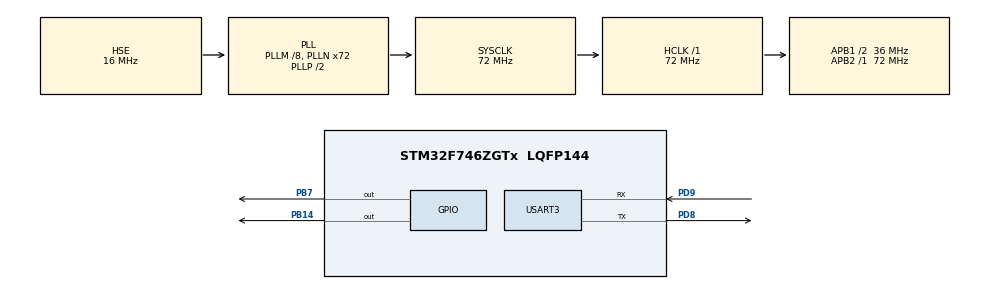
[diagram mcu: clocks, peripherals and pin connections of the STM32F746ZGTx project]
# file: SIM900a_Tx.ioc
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ADC1.Channel-0\#ChannelRegularConversion=ADC_CHANNEL_TEMPSENSOR
ADC1.ClockPrescaler=ADC_CLOCK_SYNC_PCLK_DIV4
ADC1.ContinuousConvMode=ENABLE
ADC1.NbrOfConversionFlag=1
ADC1.Rank-0\#ChannelRegularConversion=1
ADC1.SamplingTime-0\#ChannelRegularConversion=ADC_SAMPLETIME_84CYCLES
ADC1.master=1
Mcu.Family=STM32F7
Mcu.Name=STM32F746ZGTx
Mcu.Package=LQFP144
NVIC.PriorityGroup=NVIC_PRIORITYGROUP_4
NVIC.TIM2_IRQn=true\:0\:0\:false\:false\:true\:true\:true\:true
NVIC.USART3_IRQn=true\:0\:0\:false\:false\:true\:true\:true\:true
PA13.Mode=Serial_Wire
PA13.Signal=SYS_JTMS-SWDIO
PA14.Mode=Serial_Wire
PA14.Signal=SYS_JTCK-SWCLK
PB14.Signal=GPIO_Output
PB7.Signal=GPIO_Output
PD8.Mode=Asynchronous
PD8.Signal=USART3_TX
PD9.Mode=Asynchronous
PD9.Signal=USART3_RX
PH0/OSC_IN.Mode=HSE-External-Oscillator
PH0/OSC_IN.Signal=RCC_OSC_IN
PH1/OSC_OUT.Mode=HSE-External-Oscillator
PH1/OSC_OUT.Signal=RCC_OSC_OUT
ProjectManager.HeapSize=0x200
ProjectManager.StackSize=0x400
ProjectManager.TargetToolchain=STM32CubeIDE
RCC.48MHZClocksFreq_Value=24000000
RCC.AHBFreq_Value=72000000
RCC.APB1CLKDivider=RCC_HCLK_DIV2
RCC.APB1Freq_Value=36000000
RCC.APB1TimFreq_Value=72000000
RCC.APB2Freq_Value=72000000
RCC.APB2TimFreq_Value=72000000
RCC.CortexFreq_Value=72000000
RCC.HCLKFreq_Value=72000000
RCC.HSE_VALUE=16000000
RCC.HSI_VALUE=16000000
RCC.LSE_VALUE=32768
RCC.PLLM=8
RCC.PLLMUL=RCC_PLL_MUL9
RCC.PLLN=72
RCC.PLLSourceVirtual=RCC_PLLSOURCE_HSE
RCC.PRESCALERUSB=RCC_USBCLKSOURCE_PLL_DIV1_5
RCC.SYSCLKFreq_VALUE=72000000
RCC.SYSCLKSource=RCC_SYSCLKSOURCE_PLLCLK
RCC.SYSCLKSourceVirtual=RCC_SYSCLKSOURCE_PLLCLK
RCC.USBFreq_Value=72000000
RCC.VCOOutputFreq_Value=144000000
TIM2.Period=64000-1
TIM2.Prescaler=24
USART3.VirtualMode-Asynchronous=VM_ASYNC
VP_ADC1_TempSens_Input.Mode=IN-TempSens
VP_TIM2_VS_ClockSourceINT.Mode=Internal
board=NUCLEO-F746ZG

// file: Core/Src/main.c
/* USER CODE BEGIN Header */
/**
  ******************************************************************************
  * @file           : main.c
  * @brief          : Main program body
  ******************************************************************************
  * @attention
  *
  * Copyright (c) 2022 STMicroelectronics.
  * All rights reserved.
  *
  * This software is licensed under terms that can be found in the LICENSE file
  * in the root directory of this software component.
  * If no LICENSE file comes with this software, it is provided AS-IS.
  *
  ******************************************************************************
  */
/* USER CODE END Header */
#include "main.h"
#include <string.h>
#include <stdio.h>

/* USER CODE BEGIN PM */
#define CTRL_Z 26
/* USER CODE END PM */

ADC_HandleTypeDef hadc1;

TIM_HandleTypeDef htim2;

UART_HandleTypeDef huart3;

/* USER CODE BEGIN PV */
uint8_t response,connection,TCP_buffer,
         SIM_APN[15],compare_data[60];
uint8_t store[80];
uint8_t state=0, new_state=1;
uint8_t send_flag=0;
uint8_t i=0;
uint16_t readvalue;
float T_celsius;
float temp;
float Vsense;
//char APN[15]="airtelgprs.com";

char buffer[15];
/* USER CODE END PV */

void SystemClock_Config(void);
static void MX_GPIO_Init(void);
static void MX_USART3_UART_Init(void);
static void MX_TIM2_Init(void);
static void MX_ADC1_Init(void);

int main(void)
{

  /* MCU Configuration--------------------------------------------------------*/

  /* Reset of all peripherals, Initializes the Flash interface and the Systick. */
  HAL_Init();

  /* Configure the system clock */
  SystemClock_Config();

  /* Initialize all configured peripherals */
  MX_GPIO_Init();
  MX_USART3_UART_Init();
  MX_TIM2_Init();
  MX_ADC1_Init();
  /* USER CODE BEGIN 2 */

	HAL_UART_Receive_IT(&huart3, &response, 1);
	  HAL_ADC_Start(&hadc1);
  /* USER CODE END 2 */

  /* Infinite loop */
  while (1)
  {

    /* USER CODE BEGIN 3 */

	  HAL_ADC_PollForConversion(&hadc1, 100);
	  readvalue= HAL_ADC_GetValue(&hadc1);
	  Vsense= (float)readvalue *3.3/(4095);
	  T_celsius= (((Vsense-.76)/0.0025)+25);

	  switch(new_state)
	  {
	   case 1:
	   HAL_UART_Transmit(&huart3, (uint8_t*)"AT\r\n", 4, 1000);
	   HAL_Delay(1000);
	   break;
	   case 2:
	   HAL_UART_Transmit(&huart3, (uint8_t*)"AT+CPIN?\r\n", 10, 1000);
	   HAL_Delay(1000);
	   break;
	   case 3:
	   HAL_UART_Transmit(&huart3, (uint8_t*)"AT+CREG?\r\n", 10, 1000);
	   HAL_Delay(1000);
	   break;
	   case 4:
	   HAL_UART_Transmit(&huart3, (uint8_t*)"AT+CIPMUX=0\r\n", 13, 1000);
	   HAL_Delay(1000);
	   break;
	   case 5:
	   HAL_UART_Transmit(&huart3, (uint8_t*)"AT+CGATT=1\r\n", 12, 1000);
	   HAL_Delay(2000);
	   break;
	   case 6:
	   HAL_UART_Transmit(&huart3, (uint8_t*)"AT+CSTT=\"airtelgprs.com\","",""\r\n",32, 1000);
	   HAL_Delay(1000);
	   break;
	   case 7:
	   HAL_UART_Transmit(&huart3, (uint8_t*)"AT+CIICR\r\n", 10, 1000);
	   HAL_Delay(1000);
	   break;
	   case 8:
	   HAL_UART_Transmit(&huart3, (uint8_t*)"AT+CIFSR\r\n", 10, 1000);
	   HAL_Delay(1000);
	   break;
	   case 9:
//	   sprintf (connection,"AT+CIPSTART=\"TCP\",\"143.244.133.98\",\"8000\"\r\n",TCP_buffer);
	   HAL_UART_Transmit(&huart3, (uint8_t*)"AT+CIPSTART=\"TCP\",\"143.244.133.98\",\"8000\"\r\n",43, 1000);
	   HAL_Delay(1000);
	   break;
	   case 10:
	   HAL_UART_Transmit(&huart3, (uint8_t*)"AT+CIPSEND\r\n", 12, 1000);
	   HAL_Delay(1000);
	   break;
	   case 11:
	   sprintf(buffer,"%f%c\r\n",T_celsius,CTRL_Z);
	   HAL_UART_Transmit(&huart3, (uint8_t*)buffer, strlen(buffer),1000);
	   HAL_Delay(1000);
	   break;
	   case 12:
	   HAL_UART_Transmit(&huart3, (uint8_t*)"AT+CIPCLOSE\r\n", 13,1000);
	   HAL_Delay(1000);
	   break;
//	   case 13:
//	   HAL_UART_Transmit(&huart3, (uint8_t*)"AT+CIPSHUT\r\n", 12,1000);
//	   HAL_Delay(1000);
//	   break;

	  }
//	  memset(store, '\0' , 50);

  if(send_flag)
  {
	 if(strstr((char*)store,"OK")&& (new_state=1))
	  {
 		        new_state=2;
	  }
	 if(strstr((char*)store,"READY")&& (new_state=2))
	  {
	 	        new_state=3;
	  }
	 if(strstr((char*)store,"+CREG: 0,5")&& (new_state=3))
	  {
	 	 	    new_state=4;
	  }
	 if(strstr((char*)store,"CIPMUX=0")&& (new_state=4))
	  {
	 	 	    new_state=5;
	  }
	 if(strstr((char*)store,"CGATT=1")&& (new_state=5))
	  {
	 	 	 	new_state=6;
	  }
	 if(strstr((char*)store,"OK")&& (new_state=6))
	  {
	 	 	 	new_state=7;
	  }
	 if(strstr((char*)store,"AT+CIICR")&& (new_state=7))
	  {
	 	 	 	new_state=8;
	  }
	 if(strstr((char*)store,"AT+CIFSR")&& (new_state=8))
	  {
	 	 	 	new_state=9;
	  }
	 if(strstr((char*)store,"CONNECT")&& (new_state=9))
	  {
		 	 	 new_state=10;
	  }
	 if(strstr((char*)store,"AT+CIPSEND")&& (new_state=10))
	  {
			 	new_state=11;
	  }
	 if(strstr((char*)store,"SEND OK")&& (new_state=11))
	  {
	 			 new_state=12;
	  }
	 if(strstr((char*)store,"CLOSED OK")&& (new_state=12))
	  {
		 			 new_state=9;

	  }
//	 if(strstr((char*)store,"ERROR"))
//	 {
//		 new_state=13;
//	 }
//	 if(strstr((char*)store,"SHUT OK")&& (new_state=13))
//	 {
//		 new_state=1;
//		 memset(store, '0' ,50);
//	 }

//	 cmp((char*)store,"AT+CPIN?\r\n\r\n+CPIN: READY\r\n\r\nOK\r\n")==0
  }
  /* USER CODE END 3 */
  }
}

void SystemClock_Config(void)
{
  RCC_OscInitTypeDef RCC_OscInitStruct = {0};
  RCC_ClkInitTypeDef RCC_ClkInitStruct = {0};

  /** Configure the main internal regulator output voltage
  */
  __HAL_RCC_PWR_CLK_ENABLE();
  __HAL_PWR_VOLTAGESCALING_CONFIG(PWR_REGULATOR_VOLTAGE_SCALE3);

  /** Initializes the RCC Oscillators according to the specified parameters
  * in the RCC_OscInitTypeDef structure.
  */
  RCC_OscInitStruct.OscillatorType = RCC_OSCILLATORTYPE_HSE;
  RCC_OscInitStruct.HSEState = RCC_HSE_ON;
  RCC_OscInitStruct.PLL.PLLState = RCC_PLL_ON;
  RCC_OscInitStruct.PLL.PLLSource = RCC_PLLSOURCE_HSE;
  RCC_OscInitStruct.PLL.PLLM = 8;
  RCC_OscInitStruct.PLL.PLLN = 72;
  RCC_OscInitStruct.PLL.PLLP = RCC_PLLP_DIV2;
  RCC_OscInitStruct.PLL.PLLQ = 2;
  if (HAL_RCC_OscConfig(&RCC_OscInitStruct) != HAL_OK)
  {
    Error_Handler();
  }

  /** Initializes the CPU, AHB and APB buses clocks
  */
  RCC_ClkInitStruct.ClockType = RCC_CLOCKTYPE_HCLK|RCC_CLOCKTYPE_SYSCLK
                              |RCC_CLOCKTYPE_PCLK1|RCC_CLOCKTYPE_PCLK2;
  RCC_ClkInitStruct.SYSCLKSource = RCC_SYSCLKSOURCE_PLLCLK;
  RCC_ClkInitStruct.AHBCLKDivider = RCC_SYSCLK_DIV1;
  RCC_ClkInitStruct.APB1CLKDivider = RCC_HCLK_DIV2;
  RCC_ClkInitStruct.APB2CLKDivider = RCC_HCLK_DIV1;

  if (HAL_RCC_ClockConfig(&RCC_ClkInitStruct, FLASH_LATENCY_2) != HAL_OK)
  {
    Error_Handler();
  }
}

static void MX_ADC1_Init(void)
{

  ADC_ChannelConfTypeDef sConfig = {0};

  /** Configure the global features of the ADC (Clock, Resolution, Data Alignment and number of conversion)
  */
  hadc1.Instance = ADC1;
  hadc1.Init.ClockPrescaler = ADC_CLOCK_SYNC_PCLK_DIV4;
  hadc1.Init.Resolution = ADC_RESOLUTION_12B;
  hadc1.Init.ScanConvMode = ADC_SCAN_DISABLE;
  hadc1.Init.ContinuousConvMode = ENABLE;
  hadc1.Init.DiscontinuousConvMode = DISABLE;
  hadc1.Init.ExternalTrigConvEdge = ADC_EXTERNALTRIGCONVEDGE_NONE;
  hadc1.Init.ExternalTrigConv = ADC_SOFTWARE_START;
  hadc1.Init.DataAlign = ADC_DATAALIGN_RIGHT;
  hadc1.Init.NbrOfConversion = 1;
  hadc1.Init.DMAContinuousRequests = DISABLE;
  hadc1.Init.EOCSelection = ADC_EOC_SINGLE_CONV;
  if (HAL_ADC_Init(&hadc1) != HAL_OK)
  {
    Error_Handler();
  }

  /** Configure for the selected ADC regular channel its corresponding rank in the sequencer and its sample time.
  */
  sConfig.Channel = ADC_CHANNEL_TEMPSENSOR;
  sConfig.Rank = ADC_REGULAR_RANK_1;
  sConfig.SamplingTime = ADC_SAMPLETIME_84CYCLES;
  if (HAL_ADC_ConfigChannel(&hadc1, &sConfig) != HAL_OK)
  {
    Error_Handler();
  }

}

static void MX_TIM2_Init(void)
{

  TIM_ClockConfigTypeDef sClockSourceConfig = {0};
  TIM_MasterConfigTypeDef sMasterConfig = {0};

  htim2.Instance = TIM2;
  htim2.Init.Prescaler = 24;
  htim2.Init.CounterMode = TIM_COUNTERMODE_UP;
  htim2.Init.Period = 64000-1;
  htim2.Init.ClockDivision = TIM_CLOCKDIVISION_DIV1;
  htim2.Init.AutoReloadPreload = TIM_AUTORELOAD_PRELOAD_DISABLE;
  if (HAL_TIM_Base_Init(&htim2) != HAL_OK)
  {
    Error_Handler();
  }
  sClockSourceConfig.ClockSource = TIM_CLOCKSOURCE_INTERNAL;
  if (HAL_TIM_ConfigClockSource(&htim2, &sClockSourceConfig) != HAL_OK)
  {
    Error_Handler();
  }
  sMasterConfig.MasterOutputTrigger = TIM_TRGO_RESET;
  sMasterConfig.MasterSlaveMode = TIM_MASTERSLAVEMODE_DISABLE;
  if (HAL_TIMEx_MasterConfigSynchronization(&htim2, &sMasterConfig) != HAL_OK)
  {
    Error_Handler();
  }

}

static void MX_USART3_UART_Init(void)
{

  huart3.Instance = USART3;
  huart3.Init.BaudRate = 115200;
  huart3.Init.WordLength = UART_WORDLENGTH_8B;
  huart3.Init.StopBits = UART_STOPBITS_1;
  huart3.Init.Parity = UART_PARITY_NONE;
  huart3.Init.Mode = UART_MODE_TX_RX;
  huart3.Init.HwFlowCtl = UART_HWCONTROL_NONE;
  huart3.Init.OverSampling = UART_OVERSAMPLING_16;
  huart3.Init.OneBitSampling = UART_ONE_BIT_SAMPLE_DISABLE;
  huart3.AdvancedInit.AdvFeatureInit = UART_ADVFEATURE_NO_INIT;
  if (HAL_UART_Init(&huart3) != HAL_OK)
  {
    Error_Handler();
  }

}

static void MX_GPIO_Init(void)
{
  GPIO_InitTypeDef GPIO_InitStruct = {0};

  /* GPIO Ports Clock Enable */
  __HAL_RCC_GPIOH_CLK_ENABLE();
  __HAL_RCC_GPIOB_CLK_ENABLE();
  __HAL_RCC_GPIOD_CLK_ENABLE();
  __HAL_RCC_GPIOA_CLK_ENABLE();

  /*Configure GPIO pin Output Level */
  HAL_GPIO_WritePin(GPIOB, GPIO_PIN_14|GPIO_PIN_7, GPIO_PIN_RESET);

  /*Configure GPIO pins : PB14 PB7 */
  GPIO_InitStruct.Pin = GPIO_PIN_14|GPIO_PIN_7;
  GPIO_InitStruct.Mode = GPIO_MODE_OUTPUT_PP;
  GPIO_InitStruct.Pull = GPIO_NOPULL;
  GPIO_InitStruct.Speed = GPIO_SPEED_FREQ_LOW;
  HAL_GPIO_Init(GPIOB, &GPIO_InitStruct);

}

/* USER CODE BEGIN 4 */
void HAL_UART_RxCpltCallback(UART_HandleTypeDef *huart)

{
	if(huart->Instance==USART3)
	{
	store[i]=response;
	i++;
    response=0;
	HAL_UART_Receive_IT(&huart3, &response, 1);
	HAL_TIM_Base_Start_IT(&htim2);
	}

}

void HAL_TIM_PeriodElapsedCallback(TIM_HandleTypeDef *htim)
{
	i=0;
	HAL_TIM_Base_Stop_IT(&htim2);
//    send_flag=1;
    HAL_UART_Receive_IT(&huart3,&response, 1);
    send_flag=1;

}
/* USER CODE END 4 */

void Error_Handler(void)
{
  __disable_irq();
  while (1)
  {
  }
}
